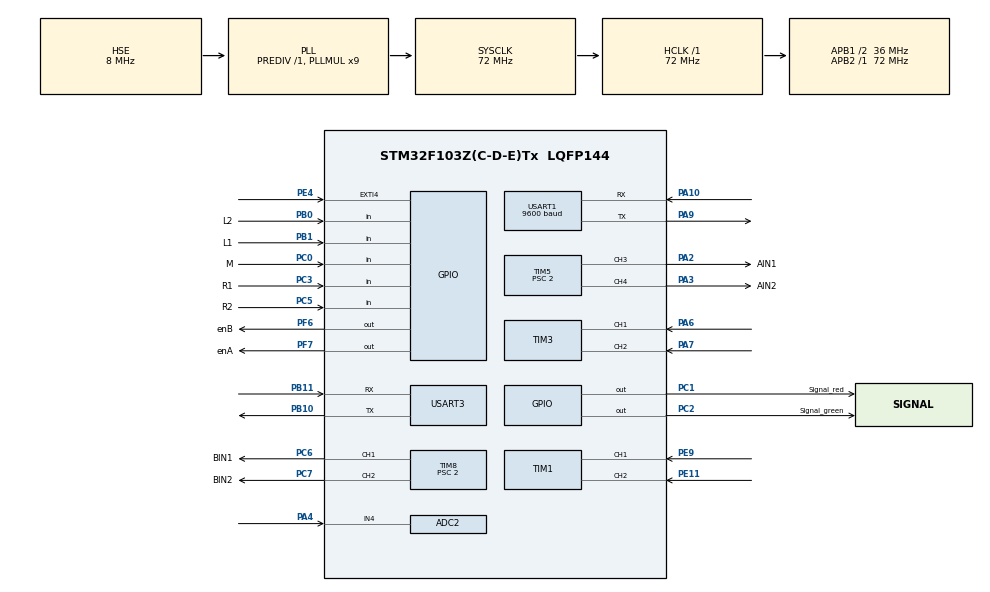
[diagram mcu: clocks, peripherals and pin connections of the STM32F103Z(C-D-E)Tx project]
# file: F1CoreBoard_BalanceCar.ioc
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ADC2.Channel-0\#ChannelRegularConversion=ADC_CHANNEL_4
ADC2.NbrOfConversionFlag=1
ADC2.Rank-0\#ChannelRegularConversion=1
ADC2.SamplingTime-0\#ChannelRegularConversion=ADC_SAMPLETIME_7CYCLES_5
Mcu.Family=STM32F1
Mcu.Name=STM32F103Z(C-D-E)Tx
Mcu.Package=LQFP144
NVIC.EXTI4_IRQn=true\:3\:1\:true\:false\:true\:true\:true\:true
NVIC.PriorityGroup=NVIC_PRIORITYGROUP_2
NVIC.TIM6_IRQn=true\:2\:3\:true\:false\:true\:true\:true\:true
NVIC.TIM7_IRQn=true\:1\:2\:true\:false\:true\:true\:true\:true
NVIC.USART1_IRQn=true\:2\:0\:true\:false\:true\:true\:true\:true
NVIC.USART3_IRQn=true\:3\:0\:true\:false\:true\:true\:true\:true
OSC_IN.Mode=HSE-External-Oscillator
OSC_IN.Signal=RCC_OSC_IN
OSC_OUT.Mode=HSE-External-Oscillator
OSC_OUT.Signal=RCC_OSC_OUT
PA10.Mode=Asynchronous
PA10.Signal=USART1_RX
PA13.Mode=Serial_Wire
PA13.Signal=SYS_JTMS-SWDIO
PA14.Mode=Serial_Wire
PA14.Signal=SYS_JTCK-SWCLK
PA2.GPIO_Label=AIN1
PA2.GPIO_Speed=GPIO_SPEED_FREQ_HIGH
PA2.Signal=S_TIM5_CH3
PA3.GPIO_Label=AIN2
PA3.GPIO_Speed=GPIO_SPEED_FREQ_HIGH
PA3.Signal=S_TIM5_CH4
PA4.Signal=ADCx_IN4
PA6.Signal=S_TIM3_CH1
PA7.Signal=S_TIM3_CH2
PA9.Mode=Asynchronous
PA9.Signal=USART1_TX
PB0.GPIO_Label=L2
PB0.Signal=GPIO_Input
PB1.GPIO_Label=L1
PB1.Signal=GPIO_Input
PB10.Mode=Asynchronous
PB10.Signal=USART3_TX
PB11.Mode=Asynchronous
PB11.Signal=USART3_RX
PC0.GPIO_Label=M
PC0.Signal=GPIO_Input
PC1.GPIO_Label=Signal_red
PC1.Signal=GPIO_Output
PC2.GPIO_Label=Signal_green
PC2.Signal=GPIO_Output
PC3.GPIO_Label=R1
PC3.Signal=GPIO_Input
PC5.GPIO_Label=R2
PC5.Signal=GPIO_Input
PC6.GPIO_Label=BIN1
PC6.GPIO_Speed=GPIO_SPEED_FREQ_HIGH
PC6.Signal=S_TIM8_CH1
PC7.GPIO_Label=BIN2
PC7.GPIO_Speed=GPIO_SPEED_FREQ_HIGH
PC7.Signal=S_TIM8_CH2
PE11.Signal=S_TIM1_CH2
PE4.GPIO_PuPd=GPIO_PULLDOWN
PE4.Signal=GPXTI4
PE9.Signal=S_TIM1_CH1
PF6.GPIO_Label=enB
PF6.GPIO_Speed=GPIO_SPEED_FREQ_HIGH
PF6.Signal=GPIO_Output
PF7.GPIO_Label=enA
PF7.GPIO_Speed=GPIO_SPEED_FREQ_HIGH
PF7.Signal=GPIO_Output
ProjectManager.HeapSize=0x200
ProjectManager.StackSize=0x400
ProjectManager.TargetToolchain=MDK-ARM V5.27
RCC.ADCPresc=RCC_ADCPCLK2_DIV6
RCC.AHBFreq_Value=72000000
RCC.APB1CLKDivider=RCC_HCLK_DIV2
RCC.APB1Freq_Value=36000000
RCC.APB1TimFreq_Value=72000000
RCC.APB2Freq_Value=72000000
RCC.APB2TimFreq_Value=72000000
RCC.HCLKFreq_Value=72000000
RCC.PLLMUL=RCC_PLL_MUL9
RCC.PLLSourceVirtual=RCC_PLLSOURCE_HSE
RCC.SYSCLKFreq_VALUE=72000000
RCC.SYSCLKSource=RCC_SYSCLKSOURCE_PLLCLK
RCC.USBFreq_Value=72000000
SH.ADCx_IN4.0=ADC2_IN4,IN4
SH.S_TIM1_CH1.0=TIM1_CH1,Encoder_Interface
SH.S_TIM1_CH2.0=TIM1_CH2,Encoder_Interface
SH.S_TIM3_CH1.0=TIM3_CH1,Encoder_Interface
SH.S_TIM3_CH2.0=TIM3_CH2,Encoder_Interface
SH.S_TIM5_CH3.0=TIM5_CH3,PWM Generation3 CH3
SH.S_TIM5_CH4.0=TIM5_CH4,PWM Generation4 CH4
SH.S_TIM8_CH1.0=TIM8_CH1,PWM Generation1 CH1
SH.S_TIM8_CH2.0=TIM8_CH2,PWM Generation2 CH2
TIM1.EncoderMode=TIM_ENCODERMODE_TI12
TIM1.IC1Filter=1
TIM1.IC2Filter=1
TIM3.EncoderMode=TIM_ENCODERMODE_TI12
TIM3.IC1Filter=1
TIM3.IC2Filter=1
TIM5.AutoReloadPreload=TIM_AUTORELOAD_PRELOAD_ENABLE
TIM5.Channel-PWM\ Generation3\ CH3=TIM_CHANNEL_3
TIM5.Channel-PWM\ Generation4\ CH4=TIM_CHANNEL_4
TIM5.Period=999
TIM5.Prescaler=2
TIM6.AutoReloadPreload=TIM_AUTORELOAD_PRELOAD_ENABLE
TIM6.Period=5000-1
TIM6.Prescaler=7200-1
TIM7.AutoReloadPreload=TIM_AUTORELOAD_PRELOAD_ENABLE
TIM7.Period=200-1
TIM7.Prescaler=7200-1
TIM8.AutoReloadPreload=TIM_AUTORELOAD_PRELOAD_ENABLE
TIM8.Channel-PWM\ Generation1\ CH1=TIM_CHANNEL_1
TIM8.Channel-PWM\ Generation2\ CH2=TIM_CHANNEL_2
TIM8.Period=999
TIM8.Prescaler=2
USART1.BaudRate=9600
USART1.VirtualMode=VM_ASYNC
USART3.VirtualMode=VM_ASYNC
VP_TIM6_VS_ClockSourceINT.Mode=Enable_Timer
VP_TIM7_VS_ClockSourceINT.Mode=Enable_Timer
board=custom

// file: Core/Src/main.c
/* USER CODE BEGIN Header */
/**
  ******************************************************************************
  * @file           : main.c
  * @brief          : Main program body
  ******************************************************************************
  * @attention
  *
  * <h2><center>&copy; Copyright (c) 2021 STMicroelectronics.
  * All rights reserved.</center></h2>
  *
  * This software component is licensed by ST under BSD 3-Clause license,
  * the "License"; You may not use this file except in compliance with the
  * License. You may obtain a copy of the License at:
  *                        opensource.org/licenses/BSD-3-Clause
  *
  ******************************************************************************
  */
/* USER CODE END Header */
#include "main.h"
#include "adc.h"
#include "tim.h"
#include "usart.h"
#include "gpio.h"

/* USER CODE BEGIN Includes */
#include "oled.h"
#include "bsp_key.h"
#include "bsp_sys.h"
#include "bsp_delay.h"
#include "control.h"
#include "bsp_led.h"
#include "bsp_debug.h"
#include "menu.h"
#include "protocol.h"
#include "bsp_pid.h"
#include "openmv.h"
#include "bsp_GraySensor.h"
#include "BlueTooth.h"

/* USER CODE END Includes */

/* USER CODE BEGIN PV */
int iTempTim3Encoder; //临时存放从TIM3编码器接口捕获到的脉冲数据
int iTempTim1Encoder;

u16 showOLEDTime = 0;
u16 SendTime = 0;

u8 Do_count = 0, Do2_count = 0;

extern unsigned char BMP3[];
extern unsigned char BMP4[];

/* USER CODE END PV */

void SystemClock_Config(void);

int main(void)
{
  /* USER CODE BEGIN 1 */
	/*视频教程链接 https://www.bilibili.com/video/BV1UL411V7XK?p=2&share_source=copy_web   昵称：海喂喂喂*/

  /* USER CODE END 1 */

  /* MCU Configuration--------------------------------------------------------*/

  /* Reset of all peripherals, Initializes the Flash interface and the Systick. */
  HAL_Init();

  /* USER CODE BEGIN Init */
	LED_Init();
	KEY_GPIO_Init();

  /* USER CODE END Init */

  /* Configure the system clock */
  SystemClock_Config();

  /* USER CODE BEGIN SysInit */
	delay_init(72);

  /* USER CODE END SysInit */

  /* Initialize all configured peripherals */
  MX_GPIO_Init();
  MX_TIM3_Init();
  MX_TIM1_Init();
  MX_TIM5_Init();
  MX_TIM8_Init();
  MX_TIM6_Init();
  MX_TIM7_Init();
  MX_USART3_UART_Init();
  MX_ADC2_Init();
  MX_USART1_UART_Init();
  /* USER CODE BEGIN 2 */

	HAL_ADCEx_Calibration_Start(&hadc2);

//如果要使用L298N H桥的效果，两个定时器用来做正交解码，至少需要4个PWM作为控制输出
//要测试出编码器与电机是否对应  （小对小，大对大）
	HAL_TIM_Encoder_Start(&htim3, TIM_CHANNEL_ALL);   //开启TIM3的编码器接口模式
  HAL_TIM_Encoder_Start(&htim1, TIM_CHANNEL_ALL);   //开启TIM1的编码器接口模式

	HAL_TIM_PWM_Start(&htim5,TIM_CHANNEL_3);       //Motor 2
	HAL_TIM_PWM_Start(&htim5,TIM_CHANNEL_4);

	HAL_TIM_PWM_Start(&htim8,TIM_CHANNEL_3);     //Motor1
	HAL_TIM_PWM_Start(&htim8,TIM_CHANNEL_4);

	delay_ms(100);    //延时一下，让OLED正常输出
	OLED_Init();
	delay_ms(100);    //延时一下，让OLED正常输出

  OLED_Clear(); //因为是直接进来的，所以清除一下比较好

	PID_param_init();

	//protocol_init();       //这个初始化了才能通过上位机控制呀, 再看这个注意事项

	 HAL_TIM_Base_Start_IT(&htim7);
	 HAL_TIM_Base_Start_IT(&htim6);

	HAL_UART_Receive_IT(&huart3,&uart3_rxbuff,1);

	 __HAL_UART_ENABLE_IT(&huart1,UART_IT_RXNE);    //串口1接收中断

#if defined(PID_ASSISTANT_EN)
  set_computer_value(SEND_STOP_CMD, CURVES_CH1, NULL, 0);    // 同步上位机的启动按钮状态
	//set_computer_value(SEND_TARGET_CMD, CURVES_CH1,&TargetSpeed, 1);
#endif

  /* USER CODE END 2 */

  /* Infinite loop */
  /* USER CODE BEGIN WHILE */
	while (1)
	{
		if(SendTime >= 21)
		{
			SendTime = 0;
			SendDataToOpenmv();   //不能太快，否则会超过openmv的串口接收数据缓冲区

			//蓝牙发送数据这里发
			BlueToothTransmitData();

		}

		if(showOLEDTime >= 200)   //本来这里是给OLED刷新的，
		{
			showOLEDTime = 0;

			OLED_Display(Menu_Item);

			/****判断是否有放药品******/
			LoadOrNot();
		}

		//deal_serial_data();   //这个函数用来处理没有用协议的数据，可直接通过串口发送指令来控制

		/**************等待识别病房号**************/
		if(TASK == 1)
		{
			SetTargetRoom();
		}

		else if(TASK == 2)
	 {
		 //加上发送给openmv 的数据

			if(Load_flag == 1)    //运送药物
			{
						/***********以openmv发过来的标志位为触发事件***********/ 						 //标志位用完记得及时清零
					if(TargetRoom == 'A')   //这个位置理解为A房，数字为1
					{
						switch(Do_count)
						{
							case 0:
								 Do_count++;
								 Car_go(60-5+15+HeadToWheelCM);     //此时 Stop_Flag ==0  完成后自动置1        //近端病房不预留openmv识别的位置

							break;

							case 1:
								 if(Stop_Flag ==1)          //直行、转弯函数交替使用时，可以不手动将标志位清零
								 {
									 Do_count++;
									 spin_Turn(left_90);   //此时Spin_succeed_flag== 0 ,完成后自动置1
								 }
							break;

							case 2:
								 if(Spin_succeed_flag == 1)
								 {
									 Do_count++;
									 Car_go(40-5+15-HeadToWheelCM +3);      //Stop_Flag再次置1   +3是为了进停车区
								 }
							break;

							case	3:
								if(Stop_Flag ==1)
								{
									RedSignal_on;

										//点亮红色指示灯

								}
							break;
						}
					}

					else if(TargetRoom == 'B')
					{
						switch(Do_count)
						{
							case 0:
								 Do_count++;
									Car_go(60-5+15+HeadToWheelCM);

							break;

							case 1:
								 if(Stop_Flag ==1)
								 {
									 Do_count++;
									 spin_Turn(right_90);   //此时Spin_succeed_flag== 0 ,完成后自动置1
								 }
							break;

							case 2:
								 if(Spin_succeed_flag == 1)
								 {
									 Do_count++;
									 Car_go(40-5+15-HeadToWheelCM +3);    //Stop_Flag再次置1   +3是为了进停车区
								 }
							break;

							case	3:
								if(Stop_Flag ==1)
								{

									RedSignal_on;
										//点亮红色指示灯

								}
							break;
						}
					}

					//中端病房和远端病房需要发送特定标志位

					else      //TargetRoom == 'C' || TargetRoom == 'D' || TargetRoom == 'E' || TargetRoom == 'F' || TargetRoom == 'G' || TargetRoom == 'H'
					{
						switch(Do_count)
						{
							case 0:
								 Do_count++;
								 Car_go(150-5+15 - LookCM - 1);     //此时 Stop_Flag ==0  完成后自动置1   //LookCM是预留给openmv识别的距离
							break;

							case 1:       //判定是否识别到数字，且该数字的位置偏左还是偏右
								if(Stop_Flag == 1)
								{
									 FindStartFlag = 1;  //这个有没有都一样呀

										if( FindTimeCount < WaitTime_ms )              //三个条件都要满足：数字相同、位置、不超时。才算在次位置识别到数字。
									 {
											if(RoomNum == TargetNum && LoR == 1)  //识别到了目标数字, 且其位置偏左
											{
												 Do_count  = 6;  //后续直至左转并直行到病房门口的函数
												 TargetRoom = 'C';
												 Car_go(LookCM+HeadToWheelCM);      //补回给openmv识别预留的位置，同时让车轮压线，以便后续转弯

												//停止计时,并清零
												 FindTimeCount = 0;
												 FindStartFlag = 0;
											}
											else if(RoomNum == TargetNum && LoR == 2 )  //识别到目标数字, 且其位置偏右
											{
												 Do_count  = 6;        //后续直至右转并直行到病房门口的函数
												 TargetRoom = 'D';
												 Car_go(LookCM + HeadToWheelCM);      //补回给openmv识别预留的位置，同时让车轮压线，以便后续转弯

												 //停止计时,并清零
												 FindTimeCount = 0;
												 FindStartFlag = 0;
											}

									 }

									 //超时还未识别到，则判定为不在目标房间不在此处
									 else if(FindTimeCount >= WaitTime_ms)     //中端病房在一定时间内并没有识别到相应数字
									 {
										 Do_count++;
										 Car_go(90 - 1);    //直行至远端病房的第一个路口前   //-1防止过冲

										 //停止计时,并清零
										 FindTimeCount = 0;
										 FindStartFlag = 0;
									 }
								}
							break;

							case 2:
								if(Stop_Flag == 1)     //这里需要同时识别四个数字， openmv只识别从左往右数的那三个？如果没有识别到就默认在第四个位置
								{
									FindStartFlag = 1;

									if(FindTimeCount < WaitTime_ms)    //一定时间内识别到RoomNum, 且其位置偏左     三个条件都要满足：时间、识别成功标志位、位置
									{
										if(RoomNum == TargetNum && LoR == 1)
										{
											 Do_count++;
											 TargetRoom = 'E';      //先假定是E
											 Car_go(LookCM+HeadToWheelCM);      //补回给openmv识别预留的位置，同时让车轮压线，以便后续转弯

											//停止计时,并清零
											 FindTimeCount = 0;
											 FindStartFlag = 0;
										}
										else if(RoomNum == TargetNum && LoR == 2 )  	//识别到目标数字, 且其位置偏右
										{
											 Do_count++;
											 TargetRoom = 'G';    //先假定是G
											 Car_go(LookCM + HeadToWheelCM);      //补回给openmv识别预留的位置，同时让车轮压线，以便后续转弯

											//停止计时,并清零
												 FindTimeCount = 0;
												 FindStartFlag = 0;
										}

									}

									else if(FindTimeCount >= WaitTime_ms)   //仍然超时并未识别到，则保留初始化是赋予的'G'
									{
									   Do_count++;
										 Car_go(LookCM + HeadToWheelCM);      //补回给openmv识别预留的位置，同时让车轮压线，以便后续转弯

											//停止计时,并清零
										 FindTimeCount = 0;
										 FindStartFlag = 0;
									}
								}
							break;

							case 3:
								if(Stop_Flag == 1)
								{
									Do_count++;
									if(TargetRoom == 'E')
									{
										spin_Turn(left_90);
									}
									else if(TargetRoom == 'G')
									{
										spin_Turn(right_90);
									}
								}
							break;

							case 4:
								if(Spin_succeed_flag == 1)
								{
									Do_count++;
									Car_go(90 -HeadToWheelCM -LookCM - 1);  //多减1防止过冲
								}
							break;

							case 5:
								if(Stop_Flag == 1)
								{
									FindStartFlag = 1;
									if(FindTimeCount < WaitTime_ms)
									{
										if(TargetRoom == 'E')
										{
												if(RoomNum == TargetNum && LoR == 1)    //识别到RoomNum, 且其位置偏左
											 {
												 Do_count ++;
												 TargetRoom = 'E';
												 Car_go(LookCM+HeadToWheelCM);      //补回给openmv识别预留的位置，同时让车轮压线，以便后续转弯

												 FindStartFlag = 0;
												 FindTimeCount =0;
											 }

											 else if(RoomNum == TargetNum && LoR == 2)   //一定时间内识别到RoomNum, 且其位置偏右
											 {
												 Do_count++;
												 TargetRoom = 'F';
												 Car_go(LookCM + HeadToWheelCM);

												 FindStartFlag = 0;
												 FindTimeCount =0;
											 }
										}

										else if(TargetRoom == 'G')
										{
												if(RoomNum == TargetNum && LoR == 1)    //一定时间内识别到RoomNum, 且其位置偏左
											 {
												 Do_count++;
												 TargetRoom = 'G';
												 Car_go(LookCM+HeadToWheelCM);

												 FindStartFlag = 0;
												 FindTimeCount =0;
											 }

											 else if(RoomNum == TargetNum && LoR == 2)   //一定时间内识别到RoomNum, 且其位置偏右
											 {
												 Do_count++;
												 TargetRoom = 'H';
												 Car_go(LookCM + HeadToWheelCM);

												 FindStartFlag = 0;
												 FindTimeCount =0;
											 }
										}
									}

									else if(FindTimeCount >= WaitTime_ms)
									{
										Do_count++;
										Car_go(LookCM + HeadToWheelCM);

										FindStartFlag=0;
										FindTimeCount=0;
									}

								}
							break;

							case 6:
								if(Stop_Flag == 1)
								{
									Do_count++;
									if(TargetRoom == 'C' || TargetRoom == 'E' || TargetRoom == 'G')
									{
										spin_Turn(left_90);
									}
									else if(TargetRoom == 'D' || TargetRoom == 'F' || TargetRoom == 'H')
									{
										spin_Turn(right_90);
									}
								}
							break;

							case 7:
								if(Spin_succeed_flag == 1)
								{
									Do_count++;
									Car_go(40-5+15-HeadToWheelCM +3);
								}
							break;

							case 8:
								if(Stop_Flag == 1)
								{

									RedSignal_on;
									 //点亮红色指示灯
								}
							break;

						}
					}
			 }

			 //送药完毕返回
			 else if(Load_flag == 2)       // 全部房间都可返回了，就是远端的三叉路口那可能有时候会出现问题。
			{
					if(TargetRoom == 'A')
					{
						switch(Do2_count)
						{
							case 0:
								Do2_count++;

								spin_Turn(back_180 );
								RedSignal_off; //关闭红色指示灯

							break;

							case 1:
								if(Spin_succeed_flag == 1)
								{
									Do2_count++;

									Car_go(40- 5 + 15-HeadToWheelCM +3);   //40-5+15-13+3 //15是车头到驱动轮的距离  //此时 Stop_Flag ==0  完成后自动置1        //近端病房不预留openmv识别的位置
								}
							break;

							case 2:
								 if(Stop_Flag ==1)
								 {
									 Do2_count++;
									 spin_Turn(right_90 );   //此时Spin_succeed_flag== 0 ,完成后自动置1
								 }
							break;

							case 3:
								 if(Spin_succeed_flag == 1)
								 {

									 Do2_count++;
									 //Car_go(60);   //60-5+15-13 +3  //13是驱动轮到车头的距离   //Stop_Flag再次置1
										Car_go(60);   //60-5+15-13 +3  //13是驱动轮到车头的距离   //Stop_Flag再次置1
								 }
							break;

							case	4:
								if(Stop_Flag ==1)
								{

									GreenSignal_on; //点亮绿色指示灯

								}
							break;
						}

					}

					else if(TargetRoom == 'B')
					{
						switch(Do2_count)
						{
							case 0:
								Do2_count++;

								spin_Turn(back_180 );
								RedSignal_off; //关闭红色指示灯

							break;

							case 1:
								if(Spin_succeed_flag == 1)
								{
									Do2_count++;

									Car_go(40-5+15 -HeadToWheelCM +3);    //此时 Stop_Flag ==0  完成后自动置1        //近端病房不预留openmv识别的位置
								}
							break;

							case 2:
								 if(Stop_Flag ==1)
								 {
									 Do2_count++;
									 spin_Turn(left_90 );   //此时Spin_succeed_flag== 0 ,完成后自动置1
								 }
							break;

							case 3:
								 if(Spin_succeed_flag == 1)
								 {

									 Do2_count++;
									// Car_go(60);   //60-5+15-13 +3  //13是驱动轮到车头的距离   //Stop_Flag再次置1
										Car_go(60);   //60-5+15-13 +3  //13是驱动轮到车头的距离   //Stop_Flag再次置1
								 }
							break;

							case	4:
								if(Stop_Flag ==1)
								{

									GreenSignal_on; //点亮绿色指示灯

								}
							break;
						}
					}

					else if(TargetRoom == 'C')   //中端病房   这两个与近端病房的差别只是在最后直走的时候走多了几十cm而已
					{
						switch(Do2_count)
						{
							case 0:
								Do2_count++;
								RedSignal_off; //关闭红色指示灯
								spin_Turn(back_180);
							break;

							case 1:
								if(Spin_succeed_flag == 1)
								{
									Do2_count++;
									Car_go(40-5+15-HeadToWheelCM+3);    //13是车头到驱动轮的距离  //此时 Stop_Flag ==0  完成后自动置1        //近端病房不预留openmv识别的位置
								}
							break;

							case 2:
								 if(Stop_Flag ==1)
								 {
									 Do2_count++;
									 spin_Turn(right_90);   //此时Spin_succeed_flag== 0 ,完成后自动置1
								 }
							break;

							case 3:
								 if(Spin_succeed_flag == 1)
								 {
									 Do2_count++;
									 Car_go(150-5 +3);      //Stop_Flag再次置1
								 }
							break;

							case	4:
								if(Stop_Flag ==1)
								{
									 GreenSignal_on; //点亮绿色指示灯

								}
							break;
						}
					}

					else if(TargetRoom == 'D')
					{
						switch(Do2_count)
						{
							case 0:
								Do2_count++;
								RedSignal_off;//关闭红色指示灯
								spin_Turn(back_180);
							break;

							case 1:
								if(Spin_succeed_flag == 1)
								{
									Do2_count++;
									Car_go(40-5+15-HeadToWheelCM+3);    //13是驱动轮到车头的距离  //此时 Stop_Flag ==0  完成后自动置1
								}
							break;

							case 2:
								 if(Stop_Flag ==1)
								 {
									 Do2_count++;
									 spin_Turn(left_90 );   //此时Spin_succeed_flag== 0 ,完成后自动置1
								 }
							break;

							case 3:
								 if(Spin_succeed_flag == 1)
								 {
									 Do2_count++;
									 Car_go(150-5 +3);     //13是驱动轮到车头的距离   //Stop_Flag再次置1

									 //小车跑到这个部分的时候巡线可能会寻不了。。。。，不知道是场地的反光还是什么原因所致
								 }
							break;

							case	4:
								if(Stop_Flag ==1)
								{
									 GreenSignal_on; //点亮绿色指示灯

								}
							break;
						}
					}

					else if(TargetRoom == 'E')   //远端病房   四个只是在两个路口的转向不同而已
					{
						switch(Do2_count)
						{
							case 0:
								Do2_count++;
								RedSignal_off;//关闭红色指示灯
								spin_Turn(back_180);
							break;

							case 1:
								if(Spin_succeed_flag == 1)
								{
									Do2_count++;
									Car_go(40-5+15-HeadToWheelCM+3);    //13是驱动轮到车头的距离  //此时 Stop_Flag ==0  完成后自动置1
								}
							break;

							case 2:
								 if(Stop_Flag ==1)
								 {
									 Do2_count++;
									 spin_Turn(right_90);   //此时Spin_succeed_flag== 0 ,完成后自动置1
								 }
							break;

							case 3:
								if(Spin_succeed_flag == 1)
								{
									Do2_count++;
									Car_go(60+30);
								}
							break;

							case 4:
								if(Stop_Flag == 1)
								{
									Do2_count++;
									spin_Turn(right_90);
								}
							break;

							case 5:
								if(Spin_succeed_flag == 1)
								{
									Do2_count++;
									Car_go(240-5+3);
								}
							break;

							case 6:
								if(Stop_Flag == 1)
								{
									GreenSignal_on; //点亮绿色指示灯
								}
							break;

						}
					}

					else if(TargetRoom == 'F')
					{
						switch(Do2_count)
						{
							case 0:
								Do2_count++;
								RedSignal_off;//关闭红色指示灯
								spin_Turn(back_180);
							break;

							case 1:
								if(Spin_succeed_flag == 1)
								{
									Do2_count++;
									Car_go(40-5+15-13+3);    //13是驱动轮到车头的距离  //此时 Stop_Flag ==0  完成后自动置1
								}
							break;

							case 2:
								 if(Stop_Flag ==1)
								 {
									 Do2_count++;
									 spin_Turn(left_90);   //此时Spin_succeed_flag== 0 ,完成后自动置1
								 }
							break;

							case 3:
								if(Spin_succeed_flag == 1)
								{
									Do2_count++;
									Car_go(60+30);
								}
							break;

							case 4:
								if(Stop_Flag == 1)
								{
									Do2_count++;
									spin_Turn(right_90);
								}
							break;

							case 5:
								if(Spin_succeed_flag == 1)
								{
									Do2_count++;
									Car_go(240-5+3);
								}
							break;

							case 6:
								if(Stop_Flag == 1)
								{
									GreenSignal_on; //点亮绿色指示灯
								}
							break;

						}
					}

					else if(TargetRoom == 'G')
					{
						switch(Do2_count)
						{
							case 0:
								Do2_count++;
								RedSignal_off;//关闭红色指示灯
								spin_Turn(back_180);
							break;

							case 1:
								if(Spin_succeed_flag == 1)
								{
									Do2_count++;
									Car_go(40-5+15-HeadToWheelCM+3);    //13是驱动轮到车头的距离  //此时 Stop_Flag ==0  完成后自动置1
								}
							break;

							case 2:
								 if(Stop_Flag ==1)
								 {
									 Do2_count++;
									 spin_Turn(right_90);   //此时Spin_succeed_flag== 0 ,完成后自动置1
								 }
							break;

							case 3:
								if(Spin_succeed_flag == 1)
								{
									Do2_count++;
									Car_go(60+30);
								}
							break;

							case 4:
								if(Stop_Flag == 1)
								{
									Do2_count++;
									spin_Turn(left_90);
								}
							break;

							case 5:
								if(Spin_succeed_flag == 1)
								{
									Do2_count++;
									Car_go(240-5+3);
								}
							break;

							case 6:
								if(Stop_Flag == 1)
								{
									 GreenSignal_on;//点亮绿色指示灯
								}
							break;

						}
					}

					else if(TargetRoom == 'H')
					{
						switch(Do2_count)
						{
							case 0:
								Do2_count++;
								RedSignal_off;  //关闭红色指示灯
								spin_Turn(back_180);
							break;

							case 1:
								if(Spin_succeed_flag == 1)
								{
									Do2_count++;
									Car_go(40-5+15-HeadToWheelCM+3);    //13是驱动轮到车头的距离  //此时 Stop_Flag ==0  完成后自动置1
								}
							break;

							case 2:
								 if(Stop_Flag ==1)
								 {
									 Do2_count++;
									 spin_Turn(left_90);   //此时Spin_succeed_flag== 0 ,完成后自动置1
								 }
							break;

							case 3:
								if(Spin_succeed_flag == 1)
								{
									Do2_count++;
									Car_go(60+30);
								}
							break;

							case 4:
								if(Stop_Flag == 1)
								{
									Do2_count++;
									spin_Turn(left_90);
								}
							break;

							case 5:
								if(Spin_succeed_flag == 1)
								{
									Do2_count++;
									Car_go(240-5+3);
								}
							break;

							case 6:
								if(Stop_Flag == 1)
								{
									GreenSignal_on; //点亮绿色指示灯
								}
							break;

						}
					}
			 }
	  }

    /* USER CODE END WHILE */

  }
}

void SystemClock_Config(void)
{
  RCC_OscInitTypeDef RCC_OscInitStruct = {0};
  RCC_ClkInitTypeDef RCC_ClkInitStruct = {0};
  RCC_PeriphCLKInitTypeDef PeriphClkInit = {0};

  /** Initializes the RCC Oscillators according to the specified parameters
  * in the RCC_OscInitTypeDef structure.
  */
  RCC_OscInitStruct.OscillatorType = RCC_OSCILLATORTYPE_HSE;
  RCC_OscInitStruct.HSEState = RCC_HSE_ON;
  RCC_OscInitStruct.HSEPredivValue = RCC_HSE_PREDIV_DIV1;
  RCC_OscInitStruct.HSIState = RCC_HSI_ON;
  RCC_OscInitStruct.PLL.PLLState = RCC_PLL_ON;
  RCC_OscInitStruct.PLL.PLLSource = RCC_PLLSOURCE_HSE;
  RCC_OscInitStruct.PLL.PLLMUL = RCC_PLL_MUL9;
  if (HAL_RCC_OscConfig(&RCC_OscInitStruct) != HAL_OK)
  {
    Error_Handler();
  }

  /** Initializes the CPU, AHB and APB buses clocks
  */
  RCC_ClkInitStruct.ClockType = RCC_CLOCKTYPE_HCLK|RCC_CLOCKTYPE_SYSCLK
                              |RCC_CLOCKTYPE_PCLK1|RCC_CLOCKTYPE_PCLK2;
  RCC_ClkInitStruct.SYSCLKSource = RCC_SYSCLKSOURCE_PLLCLK;
  RCC_ClkInitStruct.AHBCLKDivider = RCC_SYSCLK_DIV1;
  RCC_ClkInitStruct.APB1CLKDivider = RCC_HCLK_DIV2;
  RCC_ClkInitStruct.APB2CLKDivider = RCC_HCLK_DIV1;

  if (HAL_RCC_ClockConfig(&RCC_ClkInitStruct, FLASH_LATENCY_2) != HAL_OK)
  {
    Error_Handler();
  }
  PeriphClkInit.PeriphClockSelection = RCC_PERIPHCLK_ADC;
  PeriphClkInit.AdcClockSelection = RCC_ADCPCLK2_DIV6;
  if (HAL_RCCEx_PeriphCLKConfig(&PeriphClkInit) != HAL_OK)
  {
    Error_Handler();
  }
}

void Error_Handler(void)
{
  __disable_irq();
  while (1)
  {
  }
}
